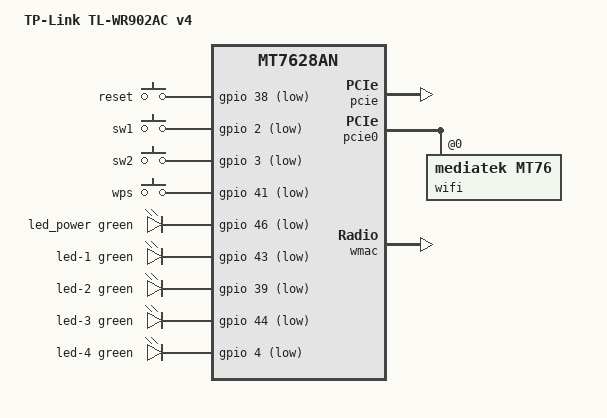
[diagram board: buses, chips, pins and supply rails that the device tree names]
// SPDX-License-Identifier: GPL-2.0-or-later OR MIT

#include "mt7628an_tplink_8m.dtsi"
#include <dt-bindings/leds/common.h>

/ {
	compatible = "tplink,tl-wr902ac-v4", "mediatek,mt7628an-soc";
	model = "TP-Link TL-WR902AC v4";

	aliases {
		led-boot = &led_power;
		led-failsafe = &led_power;
		led-running = &led_power;
		led-upgrade = &led_power;
	};

	keys {
		compatible = "gpio-keys";

		button-reset {
			label = "reset";
			gpios = <&gpio 38 GPIO_ACTIVE_LOW>;
			linux,code = <KEY_RESTART>;
		};

		button-sw1 {
			label = "sw1";
			gpios = <&gpio 2 GPIO_ACTIVE_LOW>;
			linux,code = <BTN_0>;
		};

		button-sw2 {
			label = "sw2";
			gpios = <&gpio 3 GPIO_ACTIVE_LOW>;
			linux,code = <BTN_1>;
		};

		button-wps {
			label = "wps";
			gpios = <&gpio 41 GPIO_ACTIVE_LOW>;
			linux,code = <KEY_WPS_BUTTON>;
		};
	};

	leds {
		compatible = "gpio-leds";

		led_power: led-0 {
			color = <LED_COLOR_ID_GREEN>;
			function = LED_FUNCTION_POWER;
			gpios = <&gpio 46 GPIO_ACTIVE_LOW>;
		};

		led-1 {
			color = <LED_COLOR_ID_GREEN>;
			function = LED_FUNCTION_USB;
			gpios = <&gpio 43 GPIO_ACTIVE_LOW>;
			trigger-sources = <&ohci_port1>, <&ehci_port1>;
			linux,default-trigger = "usbport";
		};

		led-2 {
			color = <LED_COLOR_ID_GREEN>;
			function = LED_FUNCTION_WAN;
			gpios = <&gpio 39 GPIO_ACTIVE_LOW>;
		};

		led-3 {
			color = <LED_COLOR_ID_GREEN>;
			function = LED_FUNCTION_WLAN;
			gpios = <&gpio 44 GPIO_ACTIVE_LOW>;
			linux,default-trigger = "phy0tpt";
		};

		led-4 {
			function = LED_FUNCTION_WPS;
			color = <LED_COLOR_ID_GREEN>;
			gpios = <&gpio 4 GPIO_ACTIVE_LOW>;
		};
	};
};

&eeprom_factory_28000 {
	/* tl-wr902ac-v4 has different eeprom size '0x4da8' for MT7613 */
	reg = <0x28000 0x4da8>;
};

&pcie {
	status = "okay";
};

&pcie0 {
	wifi@0,0 {
		compatible = "mediatek,mt76";
		reg = <0x0000 0 0 0 0>;
		ieee80211-freq-limit = <5000000 6000000>;
		nvmem-cells = <&eeprom_factory_28000>, <&macaddr_factory_f100 (-1)>;
		nvmem-cell-names = "eeprom", "mac-address";
	};
};

&state_default {
	gpio {
		groups = "i2c", "i2s", "p0led_an", "p2led_an", "p4led_an", "uart1", "wdt", "wled_an";
		function = "gpio";
	};
};

&wmac {
	status = "okay";
	nvmem-cells = <&eeprom_factory_28000>, <&macaddr_factory_f100 0>;
	nvmem-cell-names = "eeprom", "mac-address";
};

&ethernet {
	nvmem-cells = <&macaddr_factory_f100 0>;
	nvmem-cell-names = "mac-address";
};
